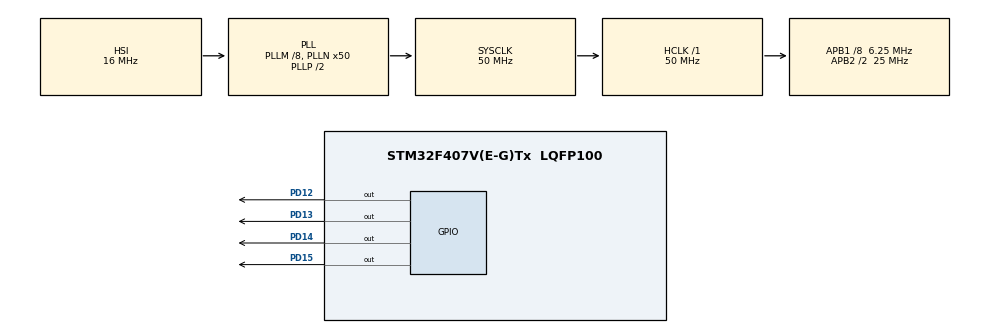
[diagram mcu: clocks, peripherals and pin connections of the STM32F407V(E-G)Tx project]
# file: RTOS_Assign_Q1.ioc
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FREERTOS.INCLUDE_vTaskDelayUntil=1
FREERTOS.Tasks01=defaultTask,-3,128,StartDefaultTask,Default,NULL,Dynamic,NULL,NULL
FREERTOS.configUSE_NEWLIB_REENTRANT=1
Mcu.Family=STM32F4
Mcu.Name=STM32F407V(E-G)Tx
Mcu.Package=LQFP100
NVIC.PriorityGroup=NVIC_PRIORITYGROUP_4
NVIC.TIM1_UP_TIM10_IRQn=true\:15\:0\:false\:false\:true\:false\:false\:true\:true
NVIC.TimeBase=TIM1_UP_TIM10_IRQn
NVIC.TimeBaseIP=TIM1
PD12.Signal=GPIO_Output
PD13.Signal=GPIO_Output
PD14.Signal=GPIO_Output
PD15.Signal=GPIO_Output
ProjectManager.HeapSize=0x200
ProjectManager.StackSize=0x400
ProjectManager.TargetToolchain=STM32CubeIDE
RCC.48MHZClocksFreq_Value=14285714.285714285
RCC.AHBFreq_Value=50000000
RCC.APB1CLKDivider=RCC_HCLK_DIV8
RCC.APB1Freq_Value=6250000
RCC.APB1TimFreq_Value=12500000
RCC.APB2CLKDivider=RCC_HCLK_DIV2
RCC.APB2Freq_Value=25000000
RCC.APB2TimFreq_Value=50000000
RCC.CortexFreq_Value=50000000
RCC.HCLKFreq_Value=50000000
RCC.HSE_VALUE=8000000
RCC.HSI_VALUE=16000000
RCC.PLLM=8
RCC.PLLN=50
RCC.PLLQ=7
RCC.SYSCLKFreq_VALUE=50000000
RCC.SYSCLKSource=RCC_SYSCLKSOURCE_PLLCLK
RCC.VCOOutputFreq_Value=100000000
VP_FREERTOS_VS_CMSIS_V1.Mode=CMSIS_V1
VP_SYS_VS_tim1.Mode=TIM1
board=STM32F407G-DISC1

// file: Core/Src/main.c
/* USER CODE BEGIN Header */
/**
  ******************************************************************************
  * @file           : main.c
  * @brief          : Main program body
  ******************************************************************************
  * @attention
  *
  * Copyright (c) 2024 STMicroelectronics.
  * All rights reserved.
  *
  * This software is licensed under terms that can be found in the LICENSE file
  * in the root directory of this software component.
  * If no LICENSE file comes with this software, it is provided AS-IS.
  *
  ******************************************************************************
  */
/* USER CODE END Header */
#include "main.h"
#include "cmsis_os.h"

osThreadId defaultTaskHandle;

void SystemClock_Config(void);
static void MX_GPIO_Init(void);
void StartDefaultTask(void const * argument);

/* USER CODE BEGIN 0 */
void vContinuousTask(void *pvParam)
{
	uint16_t pin = (uint16_t)pvParam;
	while(1)
	{
		HAL_GPIO_TogglePin(GPIOD, pin);
		vTaskDelay(2000 / portTICK_RATE_MS);
	}
	vTaskDelete(NULL);
}

void vPeriodicTask(void *pvParam)
{
	uint16_t pin = (uint16_t)pvParam;
	portTickType xLastWakeupTime =  xTaskGetTickCount();
	while(1)
	{
		HAL_GPIO_TogglePin(GPIOD, pin);
		vTaskDelayUntil(&xLastWakeupTime ,2000 / portTICK_RATE_MS);
	}
	vTaskDelete(NULL);
}

/* USER CODE END 0 */

int main(void)
{

  /* USER CODE BEGIN 1 */
	BaseType_t xRet;
  /* USER CODE END 1 */

  /* MCU Configuration--------------------------------------------------------*/

  /* Reset of all peripherals, Initializes the Flash interface and the Systick. */
  HAL_Init();

  /* Configure the system clock */
  SystemClock_Config();

  /* Initialize all configured peripherals */
  MX_GPIO_Init();

  /* Create the thread(s) */
  /* definition and creation of defaultTask */
  osThreadDef(defaultTask, StartDefaultTask, osPriorityIdle, 0, 128);
  defaultTaskHandle = osThreadCreate(osThread(defaultTask), NULL);

  /* USER CODE BEGIN RTOS_THREADS */
  /* add threads, ... */
  xRet = xTaskCreate(vContinuousTask, "Task1", configMINIMAL_STACK_SIZE , (void *)GPIO_PIN_12, 4, NULL);
   if(xRet != pdTRUE)
 	  Error_Handler();

   xRet = xTaskCreate(vContinuousTask, "Task2", configMINIMAL_STACK_SIZE , (void *)GPIO_PIN_13, 3, NULL);
      if(xRet != pdTRUE)
    	  Error_Handler();

   xRet = xTaskCreate(vPeriodicTask, "Task3", configMINIMAL_STACK_SIZE , (void *)GPIO_PIN_14, 2, NULL);
     if(xRet != pdTRUE)
   	  Error_Handler();

  xRet = xTaskCreate(vPeriodicTask, "Task4", configMINIMAL_STACK_SIZE, (void *)GPIO_PIN_15, 1, NULL);
  if(xRet !=pdTRUE)
	  Error_Handler();

  /* USER CODE END RTOS_THREADS */

  /* Start scheduler */
  osKernelStart();

  /* We should never get here as control is now taken by the scheduler */

  /* Infinite loop */
  while (1)
  {

  }
}

void SystemClock_Config(void)
{
  RCC_OscInitTypeDef RCC_OscInitStruct = {0};
  RCC_ClkInitTypeDef RCC_ClkInitStruct = {0};

  /** Configure the main internal regulator output voltage
  */
  __HAL_RCC_PWR_CLK_ENABLE();
  __HAL_PWR_VOLTAGESCALING_CONFIG(PWR_REGULATOR_VOLTAGE_SCALE1);

  /** Initializes the RCC Oscillators according to the specified parameters
  * in the RCC_OscInitTypeDef structure.
  */
  RCC_OscInitStruct.OscillatorType = RCC_OSCILLATORTYPE_HSI;
  RCC_OscInitStruct.HSIState = RCC_HSI_ON;
  RCC_OscInitStruct.HSICalibrationValue = RCC_HSICALIBRATION_DEFAULT;
  RCC_OscInitStruct.PLL.PLLState = RCC_PLL_ON;
  RCC_OscInitStruct.PLL.PLLSource = RCC_PLLSOURCE_HSI;
  RCC_OscInitStruct.PLL.PLLM = 8;
  RCC_OscInitStruct.PLL.PLLN = 50;
  RCC_OscInitStruct.PLL.PLLP = RCC_PLLP_DIV2;
  RCC_OscInitStruct.PLL.PLLQ = 7;
  if (HAL_RCC_OscConfig(&RCC_OscInitStruct) != HAL_OK)
  {
    Error_Handler();
  }

  /** Initializes the CPU, AHB and APB buses clocks
  */
  RCC_ClkInitStruct.ClockType = RCC_CLOCKTYPE_HCLK|RCC_CLOCKTYPE_SYSCLK
                              |RCC_CLOCKTYPE_PCLK1|RCC_CLOCKTYPE_PCLK2;
  RCC_ClkInitStruct.SYSCLKSource = RCC_SYSCLKSOURCE_PLLCLK;
  RCC_ClkInitStruct.AHBCLKDivider = RCC_SYSCLK_DIV1;
  RCC_ClkInitStruct.APB1CLKDivider = RCC_HCLK_DIV8;
  RCC_ClkInitStruct.APB2CLKDivider = RCC_HCLK_DIV2;

  if (HAL_RCC_ClockConfig(&RCC_ClkInitStruct, FLASH_LATENCY_1) != HAL_OK)
  {
    Error_Handler();
  }
}

static void MX_GPIO_Init(void)
{
  GPIO_InitTypeDef GPIO_InitStruct = {0};

  /* GPIO Ports Clock Enable */
  __HAL_RCC_GPIOD_CLK_ENABLE();

  /*Configure GPIO pin Output Level */
  HAL_GPIO_WritePin(GPIOD, GPIO_PIN_12|GPIO_PIN_13|GPIO_PIN_14|GPIO_PIN_15, GPIO_PIN_RESET);

  /*Configure GPIO pins : PD12 PD13 PD14 PD15 */
  GPIO_InitStruct.Pin = GPIO_PIN_12|GPIO_PIN_13|GPIO_PIN_14|GPIO_PIN_15;
  GPIO_InitStruct.Mode = GPIO_MODE_OUTPUT_PP;
  GPIO_InitStruct.Pull = GPIO_NOPULL;
  GPIO_InitStruct.Speed = GPIO_SPEED_FREQ_LOW;
  HAL_GPIO_Init(GPIOD, &GPIO_InitStruct);

}

void StartDefaultTask(void const * argument)
{
  for(;;)
  {
    osDelay(1);
  }
}

void HAL_TIM_PeriodElapsedCallback(TIM_HandleTypeDef *htim)
{
  if (htim->Instance == TIM1) {
    HAL_IncTick();
  }
}

void Error_Handler(void)
{
  __disable_irq();
  while (1)
  {
  }
}
